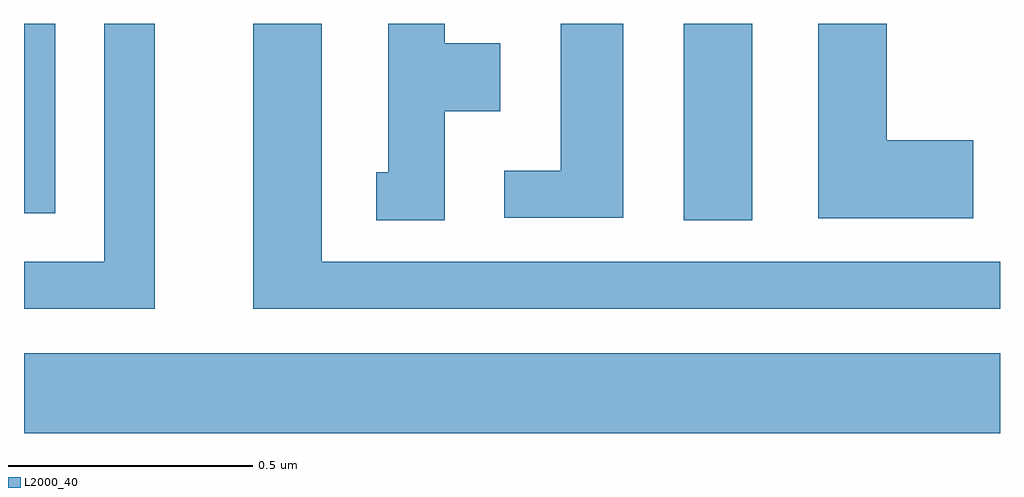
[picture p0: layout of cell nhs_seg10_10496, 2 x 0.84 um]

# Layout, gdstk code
import gdstk
lib = gdstk.Library(unit=1e-6, precision=1e-09)
def R(c, l, rs):  # rectangles x0, y0, x1, y1
    for r in rs: c.add(gdstk.rectangle(r[:2], r[2:], *l))
def P(c, l, *ps):  # polygons
    for p in ps: c.add(gdstk.Polygon(p, *l))
L2000_40 = (2000, 40)

nhs_seg10_10496 = lib.new_cell('nhs_seg10_10496')
R(nhs_seg10_10496, L2000_40, [(243,1289.66,245,1289.824), (244.352,1290.097,244.492,1290.5), (243,1290.111,243.064,1290.5)])
P(nhs_seg10_10496, L2000_40, [(244.945,1290.261),(244.768,1290.261),(244.768,1290.5),(244.628,1290.5),(244.628,1290.101),(244.945,1290.101)],
  [(243.268,1290.5),(243.164,1290.5),(243.164,1290.012),(243,1290.012),(243,1289.916),(243.268,1289.916)],
  [(243.862,1290.32),(243.976,1290.32),(243.976,1290.46),(243.862,1290.46),(243.862,1290.5),(243.746,1290.5),(243.746,1290.195),(243.722,1290.195),(243.722,1290.097),(243.862,1290.097)],
  [(244.228,1290.5),(244.1,1290.5),(244.1,1290.198),(243.984,1290.198),(243.984,1290.102),(244.228,1290.102)],
  [(245,1290.012),(243.61,1290.012),(243.61,1290.5),(243.47,1290.5),(243.47,1289.916),(245,1289.916)])

lib.write_gds('nhs_seg10_10496.gds')
